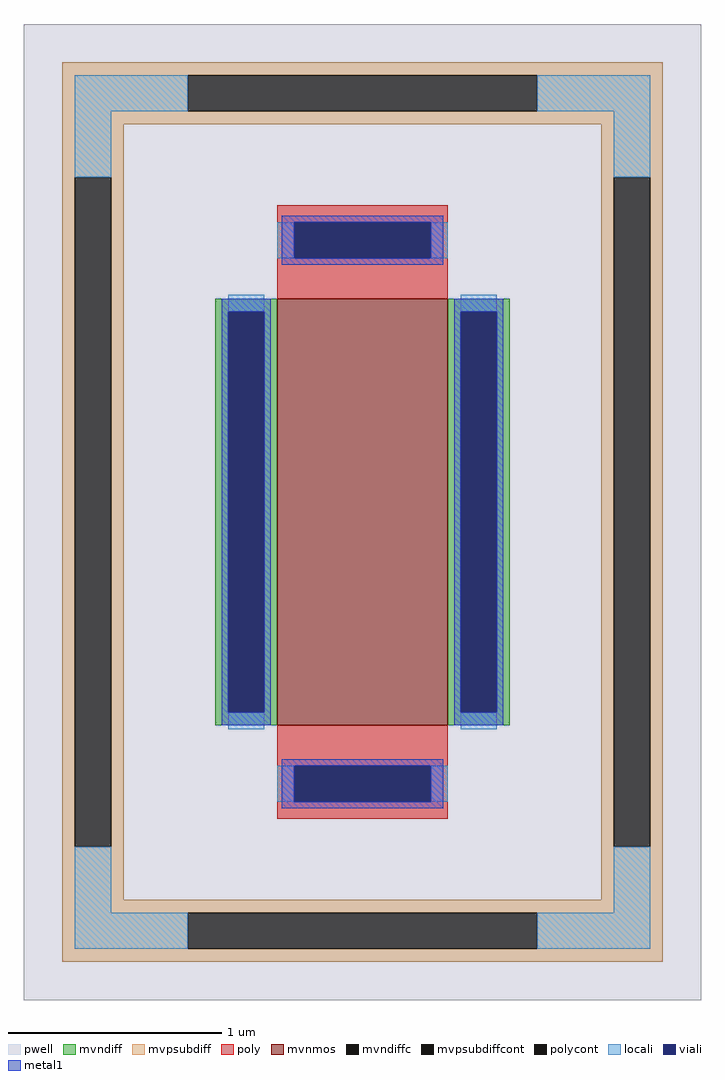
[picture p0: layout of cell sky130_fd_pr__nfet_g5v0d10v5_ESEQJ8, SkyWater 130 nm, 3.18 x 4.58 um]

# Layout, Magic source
magic
tech sky130A
<< pwell >>
rect -159 -229 159 229
<< mvnmos >>
rect -40 -100 40 100
<< mvndiff >>
rect -69 94 -40 100
rect -69 -94 -63 94
rect -46 -94 -40 94
rect -69 -100 -40 -94
rect 40 94 69 100
rect 40 -94 46 94
rect 63 -94 69 94
rect 40 -100 69 -94
<< mvndiffc >>
rect -63 -94 -46 94
rect 46 -94 63 94
<< mvpsubdiff >>
rect -141 205 141 211
rect -141 188 -82 205
rect 82 188 141 205
rect -141 182 141 188
rect -141 157 -112 182
rect -141 -157 -135 157
rect -118 -157 -112 157
rect 112 157 141 182
rect -141 -182 -112 -157
rect 112 -157 118 157
rect 135 -157 141 157
rect 112 -182 141 -157
rect -141 -188 141 -182
rect -141 -205 -82 -188
rect 82 -205 141 -188
rect -141 -211 141 -205
<< mvpsubdiffcont >>
rect -82 188 82 205
rect -135 -157 -118 157
rect 118 -157 135 157
rect -82 -205 82 -188
<< poly >>
rect -40 136 40 144
rect -40 119 -32 136
rect 32 119 40 136
rect -40 100 40 119
rect -40 -119 40 -100
rect -40 -136 -32 -119
rect 32 -136 40 -119
rect -40 -144 40 -136
<< polycont >>
rect -32 119 32 136
rect -32 -136 32 -119
<< locali >>
rect -135 188 -82 205
rect 82 188 135 205
rect -135 157 -118 188
rect 118 157 135 188
rect -40 119 -32 136
rect 32 119 40 136
rect -63 94 -46 102
rect -63 -102 -46 -94
rect 46 94 63 102
rect 46 -102 63 -94
rect -40 -136 -32 -119
rect 32 -136 40 -119
rect -135 -188 -118 -157
rect 118 -188 135 -157
rect -135 -205 -82 -188
rect 82 -205 135 -188
<< viali >>
rect -32 119 32 136
rect -63 -94 -46 94
rect 46 -94 63 94
rect -32 -136 32 -119
<< metal1 >>
rect -38 136 38 139
rect -38 119 -32 136
rect 32 119 38 136
rect -38 116 38 119
rect -66 94 -43 100
rect -66 -94 -63 94
rect -46 -94 -43 94
rect -66 -100 -43 -94
rect 43 94 66 100
rect 43 -94 46 94
rect 63 -94 66 94
rect 43 -100 66 -94
rect -38 -119 38 -116
rect -38 -136 -32 -119
rect 32 -136 38 -119
rect -38 -139 38 -136
<< properties >>
string FIXED_BBOX -121 -196 121 196
string gencell sky130_fd_pr__nfet_g5v0d10v5
string library sky130
string parameters w 2.0 l 0.8 m 1 nf 1 diffcov 100 polycov 100 guard 1 glc 1 grc 1 gtc 1 gbc 1 tbcov 100 rlcov 100 topc 1 botc 1 poverlap 0 doverlap 1 lmin 0.50 wmin 0.42 compatible {sky130_fd_pr__nfet_01v8 sky130_fd_pr__nfet_01v8_lvt  sky130_fd_bs_flash__special_sonosfet_star  sky130_fd_pr__nfet_g5v0d10v5 sky130_fd_pr__nfet_05v0_nvt  sky130_fd_pr__nfet_03v3_nvt} full_metal 1 viasrc 100 viadrn 100 viagate 100 viagb 0 viagr 0 viagl 0 viagt 0
<< end >>
